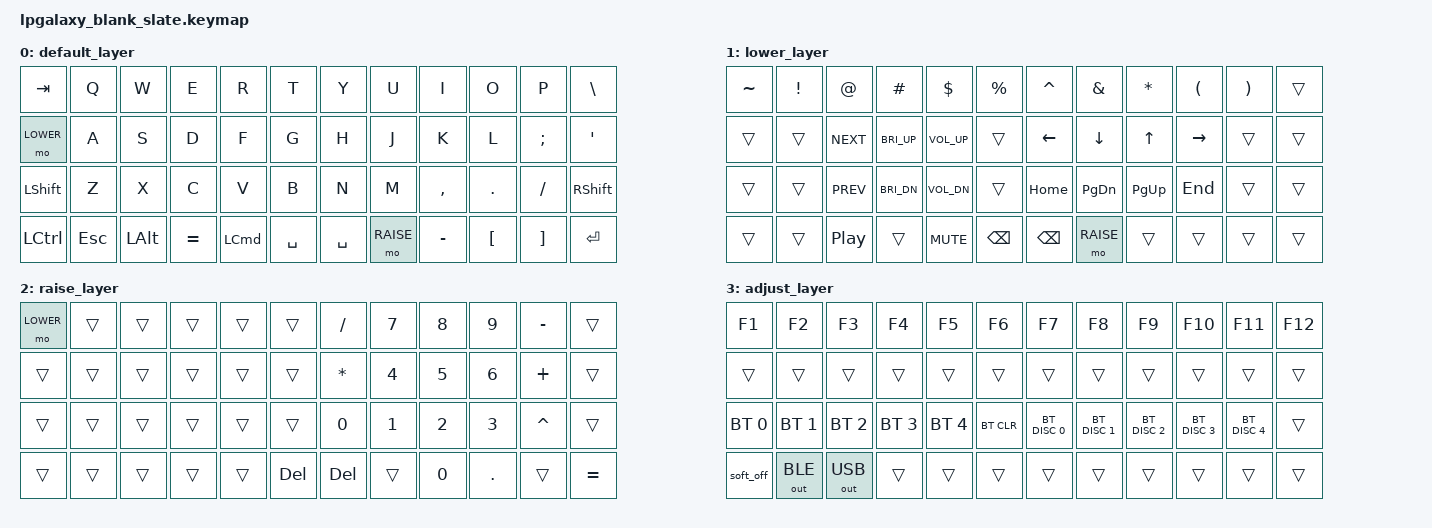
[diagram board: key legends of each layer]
/*
 * Copyright (c) 2020 The ZMK Contributors
 *
 * SPDX-License-Identifier: MIT
 */

#include <behaviors.dtsi>
#include <dt-bindings/zmk/keys.h>
#include <dt-bindings/zmk/bt.h>
#include <dt-bindings/zmk/outputs.h>

#define DEFAULT 0
#define LOWER   1
#define RAISE   2
#define ADJUST  3

// Require 500ms hold to trigger soft-off (accidental tap-through impossible given 3-key combo)
&soft_off {
       hold-time-ms = <500>;
};

/ {
       chosen {
              zmk,physical-layout = &layout_ortho_4x12_all1u;
       };

       // Conditional layer: When both LOWER and RAISE are active, activate ADJUST.
       // Order-independent: fires whenever both are held regardless of press order.
       conditional_layers {
              compatible = "zmk,conditional-layers";
              adjust_layer {
                     if-layers = <LOWER RAISE>;
                     then-layer = <ADJUST>;
              };
       };

       // Override board DTS wakeup source so any key wakes from soft-off,
       // consistent with sister-repo helix behavior. Board uses label &kscan.
       soft_off_wakers {
              compatible = "zmk,soft-off-wakeup-sources";
              wakeup-sources = <&kscan>;
       };

       keymap {
              compatible = "zmk,keymap";

              default_layer {
// -----------------------------------------------------------------------------------------
// |  TAB   |   Q    |   W    |   E    |   R    |   T    |   Y    |   U    |   I    |   O    |   P    |  BSLH  |
// | LOWER  |   A    |   S    |   D    |   F    |   G    |   H    |   J    |   K    |   L    |   ;    |   '    |
// | SHIFT  |   Z    |   X    |   C    |   V    |   B    |   N    |   M    |   ,    |   .    |   /    |  RET   |
// | LCTRL  |  ESC   |  ALT   |  EQUAL |  LCMD  | SPACE  | SPACE  | RAISE  | MINUS  |  LBKT  |  RBKT  |  SHIFT |
                     bindings = <
       &kp TAB    &kp Q   &kp W    &kp E     &kp R     &kp T     &kp Y     &kp U     &kp I     &kp O      &kp P     &kp BSLH
       &mo LOWER  &kp A   &kp S    &kp D     &kp F     &kp G     &kp H     &kp J     &kp K     &kp L      &kp SEMI  &kp SQT
       &kp LSHFT  &kp Z   &kp X    &kp C     &kp V     &kp B     &kp N     &kp M     &kp COMMA &kp PERIOD &kp SLASH &kp RSHFT
       &kp LCTRL  &kp ESC &kp LALT &kp EQUAL &kp LCMD  &kp SPACE &kp SPACE &mo RAISE &kp MINUS &kp LBKT   &kp RBKT  &kp RET
                     >;
              };

              lower_layer {
// -----------------------------------------------------------------------------------------
// |  ~     |  !     |  @     |  #     |  $     |  %     |  ^     |  &     |  *     |  (     |  )     |        |
// |  ---   |        | NEXT   | BRT+   | VOL+   |        | LEFT   | DOWN   |  UP    | RIGHT  |        |        |
// |        |        | PREV   | BRT-   | VOL-   |        | HOME   | PG_DN  | PG_UP  | END    |        |        |
// |        |        | PLAY   |        | MUTE   | BSPC   | BSPC   | RAISE  |        |        |        |        |
                     bindings = <
       &kp TILDE &kp EXCL &kp AT     &kp HASH     &kp DLLR     &kp PRCNT &kp CARET &kp AMPS  &kp ASTRK &kp LPAR  &kp RPAR &trans
       &trans    &trans   &kp C_NEXT &kp C_BRI_UP &kp C_VOL_UP &trans    &kp LEFT  &kp DOWN  &kp UP    &kp RIGHT &trans   &trans
       &trans    &trans   &kp C_PREV &kp C_BRI_DN &kp C_VOL_DN &trans    &kp HOME  &kp PG_DN &kp PG_UP &kp END   &trans   &trans
       &trans    &trans   &kp C_PP   &trans       &kp C_MUTE   &kp BSPC  &kp BSPC  &mo RAISE &trans    &trans    &trans   &trans
                     >;
              };

              raise_layer {
// -----------------------------------------------------------------------------------------
// | LOWER  |        |        |        |        |        |  DIV   |   7    |   8    |   9    |   -    |        |
// |        |        |        |        |        |        |   *    |   4    |   5    |   6    |   +    |        |
// |        |        |        |        |        |        |   0    |   1    |   2    |   3    |   ^    |        |
// |        |        |        |        |        |  DEL   |  DEL   |  ---   |   0    |   .    |        |   =    |
                     bindings = <
       &mo LOWER &trans &trans &trans &trans &trans  &kp SLASH &kp N7  &kp N8 &kp N9  &kp MINUS &trans
       &trans    &trans &trans &trans &trans &trans  &kp ASTRK &kp N4  &kp N5 &kp N6  &kp PLUS  &trans
       &trans    &trans &trans &trans &trans &trans  &kp N0    &kp N1  &kp N2 &kp N3  &kp CARET &trans
       &trans    &trans &trans &trans &trans &kp DEL &kp DEL   &trans  &kp N0 &kp DOT &trans    &kp EQUAL
                     >;
              };

              adjust_layer {
// -----------------------------------------------------------------------------------------
// |  F1     |  F2     |  F3     |  F4     |  F5     |  F6     |  F7     |  F8     |  F9     |  F10    |  F11    |  F12    |
// |  ---    |         |         |         |         |         |         |         |         |         |         |         |
// | BT SEL0 | BT SEL1 | BT SEL2 | BT SEL3 | BT SEL4 | BT CLR  | BT DSC0 | BT DSC1 | BT DSC2 | BT DSC3 | BT DSC4 |         |
// | PWR OFF | O_BLE   | O_USB   |         |  ---    |         |         |  ---    |         |         |         |         |
                     bindings = <
       &kp F1        &kp F2        &kp F3        &kp F4        &kp F5        &kp F6      &kp F7        &kp F8        &kp F9        &kp F10       &kp F11       &kp F12
       &trans        &trans        &trans        &trans        &trans        &trans      &trans        &trans        &trans        &trans        &trans        &trans
       &bt BT_SEL 0  &bt BT_SEL 1  &bt BT_SEL 2  &bt BT_SEL 3  &bt BT_SEL 4  &bt BT_CLR  &bt BT_DISC 0 &bt BT_DISC 1 &bt BT_DISC 2 &bt BT_DISC 3 &bt BT_DISC 4 &trans
       &soft_off     &out OUT_BLE  &out OUT_USB  &trans        &trans        &trans      &trans        &trans        &trans        &trans        &trans        &trans
                     >;
              };
       };
};
